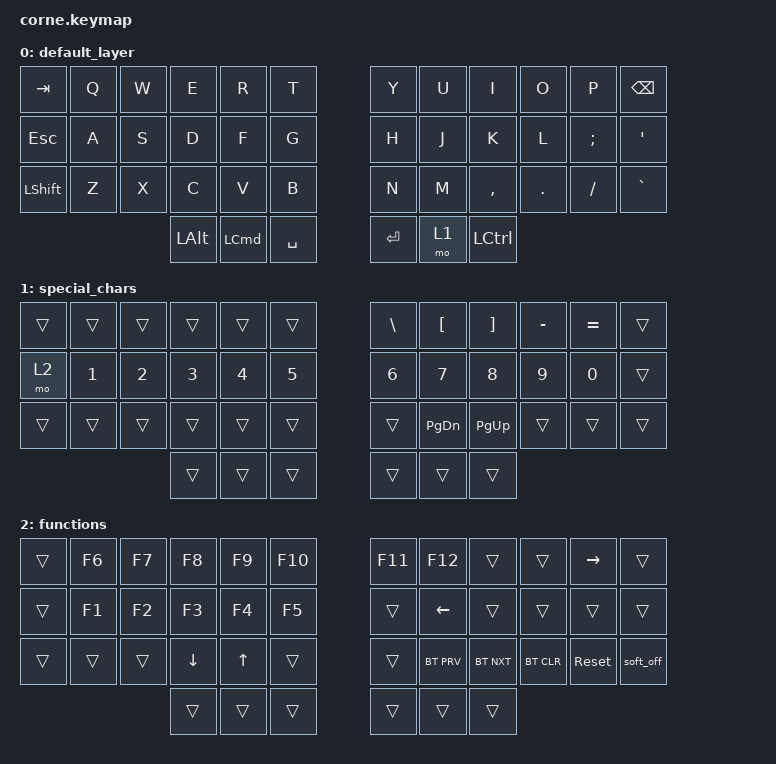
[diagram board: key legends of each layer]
/*
 * Copyright (c) 2020 The ZMK Contributors
 *
 * SPDX-License-Identifier: MIT
 */

#include <behaviors.dtsi>
#include <dt-bindings/zmk/bt.h>
#include <dt-bindings/zmk/keys.h>

/ {
    keymap {
        compatible = "zmk,keymap";

        default_layer {
            // -----------------------------------------------------------------------------------------
            // |  TAB |  Q  |  W  |  E  |  R  |  T  |   |  Y  |  U   |  I  |  O  |  P  | BKSP |
            // | ESC  |  A  |  S  |  D  |  F  |  G  |   |  H  |  J   |  K  |  L  |  ;  |  '   |
            // | SHFT |  Z  |  X  |  C  |  V  |  B  |   |  N  |  M   |  ,  |  .  |  /  | GRAVE|
            //                    | ALT | CMD | SPC |   | ENT | LWR  | CTRL|

            bindings = <
                &kp TAB     &kp Q  &kp W  &kp E         &kp R             &kp T        &kp Y    &kp U  &kp I         &kp O    &kp P     &kp BSPC
                &kp ESCAPE  &kp A  &kp S  &kp D         &kp F             &kp G        &kp H    &kp J  &kp K         &kp L    &kp SEMI  &kp SQT
                &kp LSHFT   &kp Z  &kp X  &kp C         &kp V             &kp B        &kp N    &kp M  &kp COMMA     &kp DOT  &kp FSLH  &kp GRAVE
                                          &kp LEFT_ALT  &kp LEFT_COMMAND  &kp SPACE    &kp RET  &mo 1  &kp LEFT_CONTROL
            >;
        };

        special_chars {
            // -----------------------------------------------------------------------------------------
            // | TRANS|TRANS|TRANS|TRANS|TRANS|TRANS|   |  \  |  [  |  ]  |  -  |  =  |TRANS |
            // | MO 2 |  1  |  2  |  3  |  4  |  5  |   |  6  |  7  |  8  |  9  |  0  |TRANS |
            // |TRANS |TRANS|TRANS|TRANS|TRANS|TRANS|   |TRANS| PGDN| PGUP|TRANS|TRANS|TRANS |
            //                    |TRANS|TRANS|TRANS|   |TRANS|TRANS|TRANS|

            bindings = <
                &trans  &trans        &trans        &trans        &trans        &trans          &kp BACKSLASH  &kp LEFT_BRACKET  &kp RIGHT_BRACKET  &kp MINUS     &kp EQUAL     &trans
                &mo 2   &kp NUMBER_1  &kp NUMBER_2  &kp NUMBER_3  &kp NUMBER_4  &kp NUMBER_5    &kp NUMBER_6   &kp NUMBER_7      &kp NUMBER_8       &kp NUMBER_9  &kp NUMBER_0  &trans
                &trans  &trans        &trans        &trans        &trans        &trans          &trans         &kp PAGE_DOWN     &kp PAGE_UP        &trans        &trans        &trans
                                                    &trans        &trans        &trans          &trans         &trans            &trans
            >;
        };

        functions {
            // -----------------------------------------------------------------------------------------
            // |TRANS| F6  | F7  | F8  | F9  | F10 |   | F11 | F12 |TRANS|TRANS|RIGHT|TRANS |
            // |TRANS| F1  | F2  | F3  | F4  | F5  |   |TRANS|LEFT |TRANS|TRANS|TRANS|TRANS |
            // |TRANS|TRANS|TRANS|DOWN | UP  |TRANS|   |TRANS|BT_PRV|BT_NXT|BT_CLR|RESET|TRANS|
            //                    |TRANS|TRANS|TRANS|   |TRANS|TRANS|TRANS|

            bindings = <
                &trans  &kp F6  &kp F7  &kp F8          &kp F9        &kp F10    &kp F11  &kp F12      &trans      &trans      &kp RIGHT   &trans
                &trans  &kp F1  &kp F2  &kp F3          &kp F4        &kp F5     &trans   &kp LEFT     &trans      &trans      &trans      &trans
                &trans  &trans  &trans  &kp DOWN_ARROW  &kp UP_ARROW  &trans     &trans   &bt BT_PRV   &bt BT_NXT  &bt BT_CLR  &sys_reset  &soft_off
                                        &trans          &trans        &trans     &trans   &trans       &trans
            >;
        };
    };
};
